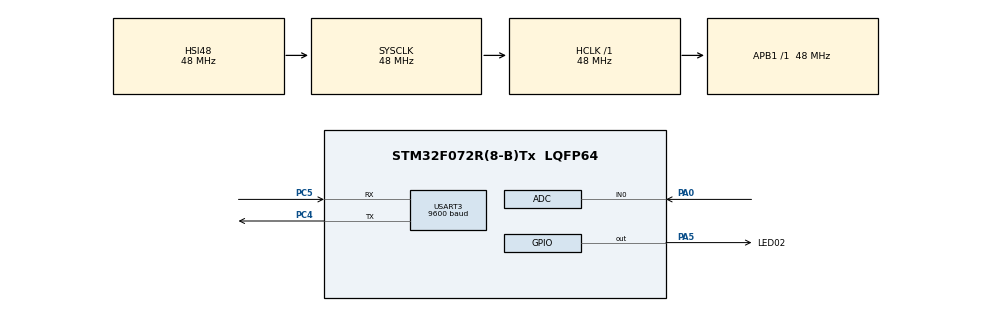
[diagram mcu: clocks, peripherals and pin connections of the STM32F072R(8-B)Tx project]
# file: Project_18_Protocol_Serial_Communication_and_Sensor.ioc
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FREERTOS.Tasks01=Task_01,0,128,S_Task_01,Default,NULL,Dynamic,NULL,NULL;Task_02,-3,128,S_Task_02,Default,NULL,Dynamic,NULL,NULL;Task_03,-3,128,S_Task_03,Default,NULL,Dynamic,NULL,NULL
FREERTOS.configUSE_NEWLIB_REENTRANT=1
Mcu.Family=STM32F0
Mcu.Name=STM32F072R(8-B)Tx
Mcu.Package=LQFP64
PA0.Mode=IN0
PA0.Signal=ADC_IN0
PA5.GPIO_Label=LED02
PA5.Signal=GPIO_Output
PC4.Mode=Asynchronous
PC4.Signal=USART3_TX
PC5.Mode=Asynchronous
PC5.Signal=USART3_RX
PF0-OSC_IN.Mode=HSE-External-Oscillator
PF0-OSC_IN.Signal=RCC_OSC_IN
PF1-OSC_OUT.Mode=HSE-External-Oscillator
PF1-OSC_OUT.Signal=RCC_OSC_OUT
ProjectManager.HeapSize=0x200
ProjectManager.StackSize=0x400
ProjectManager.TargetToolchain=STM32CubeIDE
RCC.AHBFreq_Value=48000000
RCC.APB1Freq_Value=48000000
RCC.APB1TimFreq_Value=48000000
RCC.HCLKFreq_Value=48000000
RCC.SYSCLKFreq_VALUE=48000000
RCC.SYSCLKSource=RCC_SYSCLKSOURCE_HSI48
USART3.BaudRate=9600
USART3.VirtualMode-Asynchronous=VM_ASYNC
VP_CRC_VS_CRC.Mode=CRC_Activate
VP_FREERTOS_VS_CMSIS_V1.Mode=CMSIS_V1
board=custom

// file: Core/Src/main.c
/* USER CODE BEGIN Header */
/**
  ******************************************************************************
  * @file           : main.c
  * @brief          : Main program body
  ******************************************************************************
  * @attention
  *
  * Copyright (c) 2022 STMicroelectronics.
  * All rights reserved.
  *
  * This software is licensed under terms that can be found in the LICENSE file
  * in the root directory of this software component.
  * If no LICENSE file comes with this software, it is provided AS-IS.
  *
  ******************************************************************************
  */
/* USER CODE END Header */
#include "main.h"
#include "cmsis_os.h"

/* USER CODE BEGIN Includes */

#include "stdio.h"
#include "stdlib.h"
#include "math.h"
#include "stm32f072xb.h"

/* USER CODE END Includes */

/* USER CODE BEGIN PD */

#define comand_high  HAL_GPIO_WritePin(GPIOA,GPIO_PIN_5,GPIO_PIN_SET)
#define comand_low HAL_GPIO_WritePin(GPIOA,GPIO_PIN_5,GPIO_PIN_RESET)
#define delay_00 HAL_Delay(750)
#define delay_01 HAL_Delay(450)
#define ESTAGIO_PREPROSSEAMENTO 0
#define ESTAGIO_01 1
#define ESTAGIO_02 2
#define ESTAGIO_03 3
#define ESTAGIO_04 4
#define ESTAGIO_05 5
#define CABECALHO 6
#define TAMANHO 7
#define COMANDO 8
#define MENSAGEM 9
#define CHECKSUM 10
//enumerador

/* USER CODE END PD */

/* USER CODE BEGIN PM */

volatile char V_Estagio;
volatile char V_Estagio_Protocolo;

uint8_t ErroCabecalho[] = "Elemento de cabecalho incorreto\n";
uint8_t ErroCheckSum[] = "Check Sum incorreto\n";
uint8_t CorrectCheckSum[] = "Check Sum correto\n";
uint8_t MensageVazia[] = "-";

/* USER CODE END PM */

ADC_HandleTypeDef hadc;

CRC_HandleTypeDef hcrc;

UART_HandleTypeDef huart3;

osThreadId Task_01Handle;
osThreadId Task_02Handle;
osThreadId Task_03Handle;

void SystemClock_Config(void);
static void MX_GPIO_Init(void);
static void MX_ADC_Init(void);
static void MX_CRC_Init(void);
static void MX_USART3_UART_Init(void);
void S_Task_01(void const * argument);
void S_Task_02(void const * argument);
void S_Task_03(void const * argument);

/* USER CODE BEGIN PFP */

void Read_Temperatur(void)
{

	double value  = 1.0;
	double raw = 0.0;
	//int res  = 0;
	char msg[16] = "";

	HAL_ADC_Start(&hadc);

	HAL_ADC_PollForConversion(&hadc,100);

	raw = (double)HAL_ADC_GetValue(&hadc);

	value  = (raw - 500)/10.0;

	sprintf(msg,"\n\n%f\n\n",value);

	HAL_UART_Transmit(&huart3,(uint8_t*)msg,16,os_Delay(750););

}

void Pisca_Led(void)
{

	HAL_GPIO_TogglePin(GPIOA,GPIO_PIN_5);
	HAL_Delay(500);

}

/* USER CODE END PFP */

int main(void)
{

  /* MCU Configuration--------------------------------------------------------*/

  /* Reset of all peripherals, Initializes the Flash interface and the Systick. */
  HAL_Init();

  /* Configure the system clock */
  SystemClock_Config();

  /* Initialize all configured peripherals */
  MX_GPIO_Init();
  MX_ADC_Init();
  MX_CRC_Init();
  MX_USART3_UART_Init();

  /* Create the thread(s) */
  /* definition and creation of Task_01 */
  osThreadDef(Task_01, S_Task_01, osPriorityHigh, 0, 128);
  Task_01Handle = osThreadCreate(osThread(Task_01), NULL);

  /* definition and creation of Task_02 */
  osThreadDef(Task_02, S_Task_02, osPriorityIdle, 0, 128);
  Task_02Handle = osThreadCreate(osThread(Task_02), NULL);

  /* definition and creation of Task_03 */
  osThreadDef(Task_03, S_Task_03, osPriorityIdle, 0, 128);
  Task_03Handle = osThreadCreate(osThread(Task_03), NULL);

  /* Start scheduler */
  osKernelStart();

  /* We should never get here as control is now taken by the scheduler */
  /* Infinite loop */
  while (1)
  {

  }
}

void SystemClock_Config(void)
{
  RCC_OscInitTypeDef RCC_OscInitStruct = {0};
  RCC_ClkInitTypeDef RCC_ClkInitStruct = {0};

  /** Initializes the RCC Oscillators according to the specified parameters
  * in the RCC_OscInitTypeDef structure.
  */
  RCC_OscInitStruct.OscillatorType = RCC_OSCILLATORTYPE_HSI14|RCC_OSCILLATORTYPE_HSI48;
  RCC_OscInitStruct.HSI48State = RCC_HSI48_ON;
  RCC_OscInitStruct.HSI14State = RCC_HSI14_ON;
  RCC_OscInitStruct.HSI14CalibrationValue = 16;
  RCC_OscInitStruct.PLL.PLLState = RCC_PLL_NONE;
  if (HAL_RCC_OscConfig(&RCC_OscInitStruct) != HAL_OK)
  {
    Error_Handler();
  }

  /** Initializes the CPU, AHB and APB buses clocks
  */
  RCC_ClkInitStruct.ClockType = RCC_CLOCKTYPE_HCLK|RCC_CLOCKTYPE_SYSCLK
                              |RCC_CLOCKTYPE_PCLK1;
  RCC_ClkInitStruct.SYSCLKSource = RCC_SYSCLKSOURCE_HSI48;
  RCC_ClkInitStruct.AHBCLKDivider = RCC_SYSCLK_DIV1;
  RCC_ClkInitStruct.APB1CLKDivider = RCC_HCLK_DIV1;

  if (HAL_RCC_ClockConfig(&RCC_ClkInitStruct, FLASH_LATENCY_1) != HAL_OK)
  {
    Error_Handler();
  }
}

static void MX_ADC_Init(void)
{

  ADC_ChannelConfTypeDef sConfig = {0};

  /** Configure the global features of the ADC (Clock, Resolution, Data Alignment and number of conversion)
  */
  hadc.Instance = ADC1;
  hadc.Init.ClockPrescaler = ADC_CLOCK_ASYNC_DIV1;
  hadc.Init.Resolution = ADC_RESOLUTION_12B;
  hadc.Init.DataAlign = ADC_DATAALIGN_RIGHT;
  hadc.Init.ScanConvMode = ADC_SCAN_DIRECTION_FORWARD;
  hadc.Init.EOCSelection = ADC_EOC_SINGLE_CONV;
  hadc.Init.LowPowerAutoWait = DISABLE;
  hadc.Init.LowPowerAutoPowerOff = DISABLE;
  hadc.Init.ContinuousConvMode = DISABLE;
  hadc.Init.DiscontinuousConvMode = DISABLE;
  hadc.Init.ExternalTrigConv = ADC_SOFTWARE_START;
  hadc.Init.ExternalTrigConvEdge = ADC_EXTERNALTRIGCONVEDGE_NONE;
  hadc.Init.DMAContinuousRequests = DISABLE;
  hadc.Init.Overrun = ADC_OVR_DATA_PRESERVED;
  if (HAL_ADC_Init(&hadc) != HAL_OK)
  {
    Error_Handler();
  }

  /** Configure for the selected ADC regular channel to be converted.
  */
  sConfig.Channel = ADC_CHANNEL_0;
  sConfig.Rank = ADC_RANK_CHANNEL_NUMBER;
  sConfig.SamplingTime = ADC_SAMPLETIME_1CYCLE_5;
  if (HAL_ADC_ConfigChannel(&hadc, &sConfig) != HAL_OK)
  {
    Error_Handler();
  }

}

static void MX_CRC_Init(void)
{

  hcrc.Instance = CRC;
  hcrc.Init.DefaultPolynomialUse = DEFAULT_POLYNOMIAL_ENABLE;
  hcrc.Init.DefaultInitValueUse = DEFAULT_INIT_VALUE_ENABLE;
  hcrc.Init.InputDataInversionMode = CRC_INPUTDATA_INVERSION_NONE;
  hcrc.Init.OutputDataInversionMode = CRC_OUTPUTDATA_INVERSION_DISABLE;
  hcrc.InputDataFormat = CRC_INPUTDATA_FORMAT_BYTES;
  if (HAL_CRC_Init(&hcrc) != HAL_OK)
  {
    Error_Handler();
  }

}

static void MX_USART3_UART_Init(void)
{

  huart3.Instance = USART3;
  huart3.Init.BaudRate = 9600;
  huart3.Init.WordLength = UART_WORDLENGTH_8B;
  huart3.Init.StopBits = UART_STOPBITS_1;
  huart3.Init.Parity = UART_PARITY_NONE;
  huart3.Init.Mode = UART_MODE_TX_RX;
  huart3.Init.HwFlowCtl = UART_HWCONTROL_NONE;
  huart3.Init.OverSampling = UART_OVERSAMPLING_16;
  huart3.Init.OneBitSampling = UART_ONE_BIT_SAMPLE_DISABLE;
  huart3.AdvancedInit.AdvFeatureInit = UART_ADVFEATURE_NO_INIT;
  if (HAL_UART_Init(&huart3) != HAL_OK)
  {
    Error_Handler();
  }

}

static void MX_GPIO_Init(void)
{
  GPIO_InitTypeDef GPIO_InitStruct = {0};

  /* GPIO Ports Clock Enable */
  __HAL_RCC_GPIOF_CLK_ENABLE();
  __HAL_RCC_GPIOA_CLK_ENABLE();
  __HAL_RCC_GPIOC_CLK_ENABLE();

  /*Configure GPIO pin Output Level */
  HAL_GPIO_WritePin(LED02_GPIO_Port, LED02_Pin, GPIO_PIN_RESET);

  /*Configure GPIO pin : LED02_Pin */
  GPIO_InitStruct.Pin = LED02_Pin;
  GPIO_InitStruct.Mode = GPIO_MODE_OUTPUT_PP;
  GPIO_InitStruct.Pull = GPIO_NOPULL;
  GPIO_InitStruct.Speed = GPIO_SPEED_FREQ_LOW;
  HAL_GPIO_Init(LED02_GPIO_Port, &GPIO_InitStruct);

}

void S_Task_01(void const * argument)
{
  /* USER CODE BEGIN 5 */
  /* Infinite loop */
  for(;;)
  {

	Read_Temperatur();
	HAL_GPIO_TogglePin(GPIOA,GPIO_PIN_5);

  }
  /* USER CODE END 5 */
}

void S_Task_02(void const * argument)
{
  /* USER CODE BEGIN S_Task_02 */
  /* Infinite loop */
  for(;;)
  {

	Pisca_Led();
	osDelay(1);

  }
  /* USER CODE END S_Task_02 */
}

void S_Task_03(void const * argument)
{
  for(;;)
  {
    osDelay(1);
  }
}

void Error_Handler(void)
{
  __disable_irq();
  while (1)
  {
  }
}
